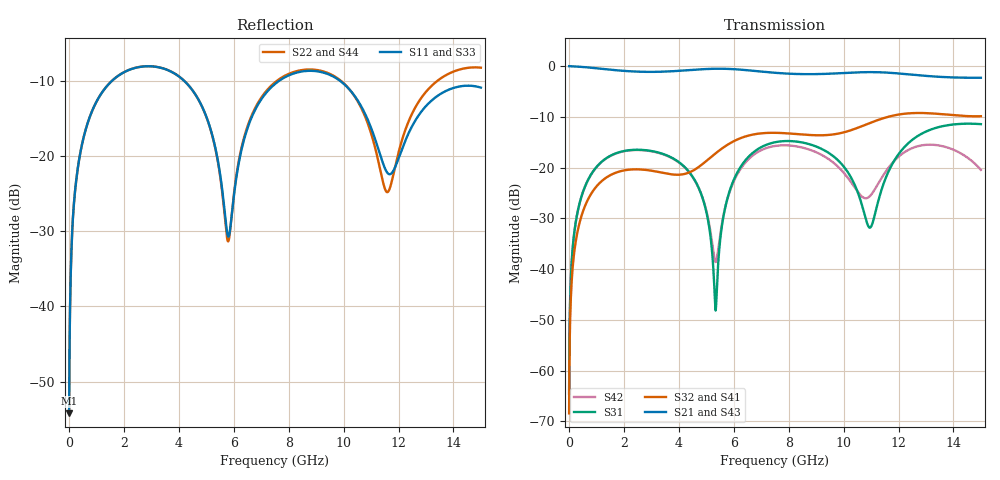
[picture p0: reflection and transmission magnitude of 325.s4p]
! Created with skrf 1.8.0 (http://scikit-rf.org).
# GHz S RI R 50.0
!freq ReS11 ImS11 ReS12 ImS12 ReS13 ImS13
! ReS14 ImS14
! ReS21 ImS21 ReS22 ImS22 ReS23 ImS23
! ReS24 ImS24
! ReS31 ImS31 ReS32 ImS32 ReS33 ImS33
! ReS34 ImS34
! ReS41 ImS41 ReS42 ImS42 ReS43 ImS43
! ReS44 ImS44
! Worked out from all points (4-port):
!   2499 points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, 5 MHz to 15 GHz, reference 50 ohm
!   strongest paths, dB at 5 MHz, 3.476 GHz, 7.19 GHz, 11.1 GHz, 15 GHz:
!     S21: 0.0, -1.1, -1.2, -1.2, -2.3
!     S43: 0.0, -1.1, -1.2, -1.2, -2.3
!     S32: -68.4, -21.1, -13.2, -10.9, -9.9
!     S41: -68.4, -21.1, -13.2, -10.9, -9.9
!     S31: -64.5, -17.4, -15.5, -30.1, -11.4
!     S42: -64.5, -17.5, -16.1, -24.6, -20.4
!   lowest |S11| = -54.2 dB at 5 MHz (marker M1), VSWR 1.00, Z = 50.2 + j0.119 ohm
!   |S11| at or under -10 dB: start of sweep to 1.562 GHz; 4.198 GHz to 7.648 GHz (3.45 GHz wide, 58.2 % of centre); 9.876 GHz to end of sweep
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0.005  0.00155 0.00118  0.9984 -0.00302  7.67e-05 0.000589  -7.46e-05 -0.000373
       0.9984 -0.00302  0.00155 0.00118  -7.46e-05 -0.000373  7.67e-05 0.000589
       7.67e-05 0.000589  -7.46e-05 -0.000373  0.00155 0.00118  0.9984 -0.00302
       -7.46e-05 -0.000373  7.67e-05 0.000589  0.9984 -0.00302  0.00155 0.00118
0.3126303  0.0218 0.0781  0.9703 -0.1881  0.00962 0.0352  -0.00801 -0.0221
           0.9703 -0.1881  0.0218 0.0781  -0.00801 -0.0221  0.00951 0.0352
           0.00962 0.0352  -0.00801 -0.0221  0.0218 0.0781  0.9703 -0.1881
           -0.00801 -0.0221  0.00951 0.0352  0.9703 -0.1881  0.0218 0.0781
1.569404  0.2572 0.1856  0.5786 -0.713  0.1186 0.0611  -0.0853 -0.011
          0.5786 -0.713  0.2577 0.1852  -0.0853 -0.011  0.1172 0.0629
          0.1186 0.0611  -0.0853 -0.011  0.2571 0.1856  0.5786 -0.713
          -0.0853 -0.011  0.1172 0.0629  0.5786 -0.713  0.2577 0.1851
5.339725  0.0531 -0.098  -0.8917 -0.3031  -0.00391 -0.000197  -0.0405 0.1323
          -0.8917 -0.3031  0.0504 -0.0978  -0.0404 0.1323  -0.0116 -0.00178
          -0.00391 -0.000197  -0.0404 0.1323  0.0519 -0.0974  -0.8919 -0.3028
          -0.0405 0.1323  -0.0116 -0.00178  -0.8919 -0.3028  0.051 -0.0967
6.308879  0.064 0.0963  -0.8954 0.2111  0.0624 0.0874  0.0617 0.1879
          -0.8954 0.2111  0.0645 0.1001  0.0619 0.188  0.0442 0.0925
          0.0624 0.0874  0.0619 0.188  0.063 0.0981  -0.8951 0.2116
          0.0617 0.1879  0.0442 0.0925  -0.8951 0.2116  0.0664 0.1012
9.035015  0.3647 -0.0364  0.0295 0.8338  0.123 -0.1025  0.1974 -0.0644
          0.0295 0.8338  0.3704 -0.0484  0.1978 -0.0653  0.1196 -0.0738
          0.123 -0.1025  0.1978 -0.0653  0.3675 -0.0336  0.0292 0.8326
          0.1974 -0.0644  0.1196 -0.0738  0.0292 0.8326  0.3732 -0.0513
15  0.2847 -0.02  -0.015 -0.7685  0.0956 -0.2506  -0.3163 0.0525
    -0.015 -0.7685  0.381 -0.0695  -0.3166 0.0535  0.0952 -0.0022
    0.0956 -0.2506  -0.3166 0.0535  0.2877 -0.02  -0.014 -0.7674
    -0.3163 0.0525  0.0952 -0.0022  -0.014 -0.7674  0.3843 -0.0691
